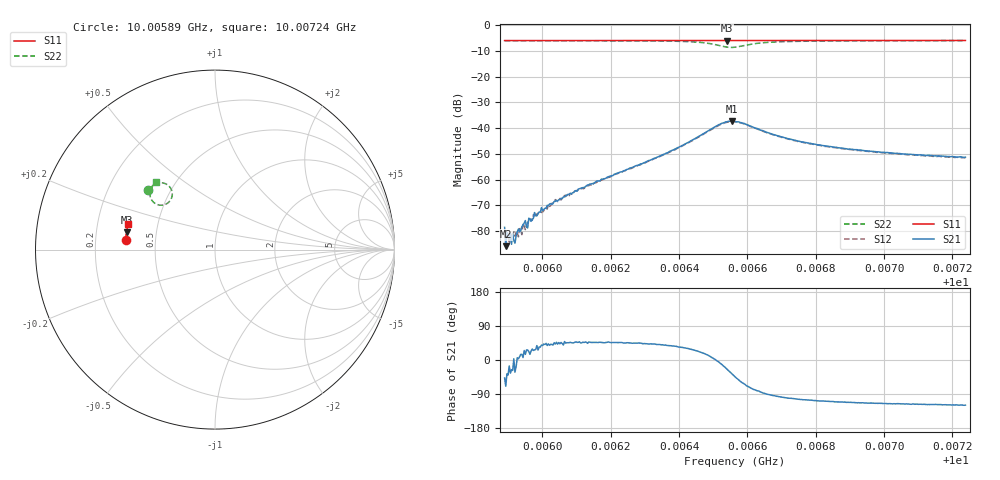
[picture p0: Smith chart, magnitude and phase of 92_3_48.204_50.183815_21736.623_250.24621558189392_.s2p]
#  HZ  S  RI  R  50.00
! Rohde & Schwarz Vector Network Analyzer
! Rohde-Schwarz,ZNB20-2Port,1311601062101988,3.16
! Created: UTC 3/20/2024, 11:40:08 AM
! freq[Hz]  re:S11  im:S11  re:S21  im:S21  re:S12  im:S12  re:S22  im:S22
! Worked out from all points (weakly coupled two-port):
!   401 points, 10.00589 GHz to 10.00724 GHz, reference 50 ohm
!   highest |S21| = -37.23 dB at 10.00655 GHz (marker M1); lowest = -85.8 dB at 10.00589 GHz (marker M2)
!   lowest |S11| = -6.0 dB at 10.00654 GHz (marker M3), VSWR 3.01, Z = 16.8 + j4.35 ohm
!   |S11| at or under -10 dB: nowhere
!   |S22| runs from -8.7 to -6.0 dB; largest |S21 - S12| = 0.0009
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1.000589e10  -0.4982 0.0554  7.99e-05 -8.72e-05  7.15e-05 -6.81e-05  -0.3722 0.3311
1.0005893e10  -0.4981 0.0558  1.81e-05 -4.77e-05  5.56e-05 -4.44e-05  -0.3721 0.3312
1.00059e10  -0.4982 0.0561  6.34e-05 -5.26e-05  7.28e-05 -5.29e-05  -0.3716 0.3317
1.000593e10  -0.498 0.058  0.00011 6.1e-06  7.56e-05 1.61e-05  -0.37 0.3336
1.0005944e10  -0.4979 0.0589  0.00013 1.47e-05  0.00014 2.89e-05  -0.3691 0.3344
1.0005957e10  -0.4979 0.0599  0.000103 5.09e-05  0.000129 7.7e-05  -0.3684 0.3354
1.0005961e10  -0.4978 0.06  0.000165 6.86e-05  0.000137 7.26e-05  -0.3681 0.3356
1.0005981e10  -0.4978 0.0614  0.000176 9.22e-05  0.000179 0.00014  -0.367 0.3369
1.0006008e10  -0.4975 0.0631  0.00021 0.000181  0.000218 0.00017  -0.3652 0.3389
1.0006035e10  -0.4974 0.0649  0.000263 0.000269  0.000227 0.000275  -0.3635 0.3407
1.0006116e10  -0.4968 0.0702  0.000478 0.000483  0.000447 0.000531  -0.3576 0.3467
1.0006341e10  -0.4948 0.0847  0.00214 0.00186  0.00199 0.00187  -0.3293 0.3662
1.0006473e10  -0.4931 0.0935  0.00753 0.00237  0.00721 0.00265  -0.2714 0.3649
1.000654e10  -0.4917 0.0971  0.0121 -0.0054  0.0121 -0.00473  -0.2431 0.2847
1.0006554e10  -0.4916 0.0976  0.0111 -0.0081  0.0112 -0.00723  -0.2578 0.2638
1.0006564e10  -0.4916 0.098  0.00965 -0.00942  0.01 -0.0088  -0.2733 0.2534
1.0006638e10  -0.4917 0.1026  0.000891 -0.00908  0.00127 -0.00893  -0.3539 0.2782
1.0006705e10  -0.4911 0.1072  -0.00101 -0.00652  -0.000658 -0.00645  -0.3625 0.311
1.000679e10  -0.4902 0.1127  -0.0014 -0.00477  -0.00119 -0.00475  -0.3588 0.3326
1.0006891e10  -0.489 0.1192  -0.00147 -0.00366  -0.00125 -0.00371  -0.3522 0.3474
1.0007015e10  -0.4872 0.127  -0.00141 -0.00301  -0.00122 -0.00298  -0.3441 0.3595
1.0007238e10  -0.4839 0.141  -0.00133 -0.00238  -0.00119 -0.00237  -0.3312 0.3749
